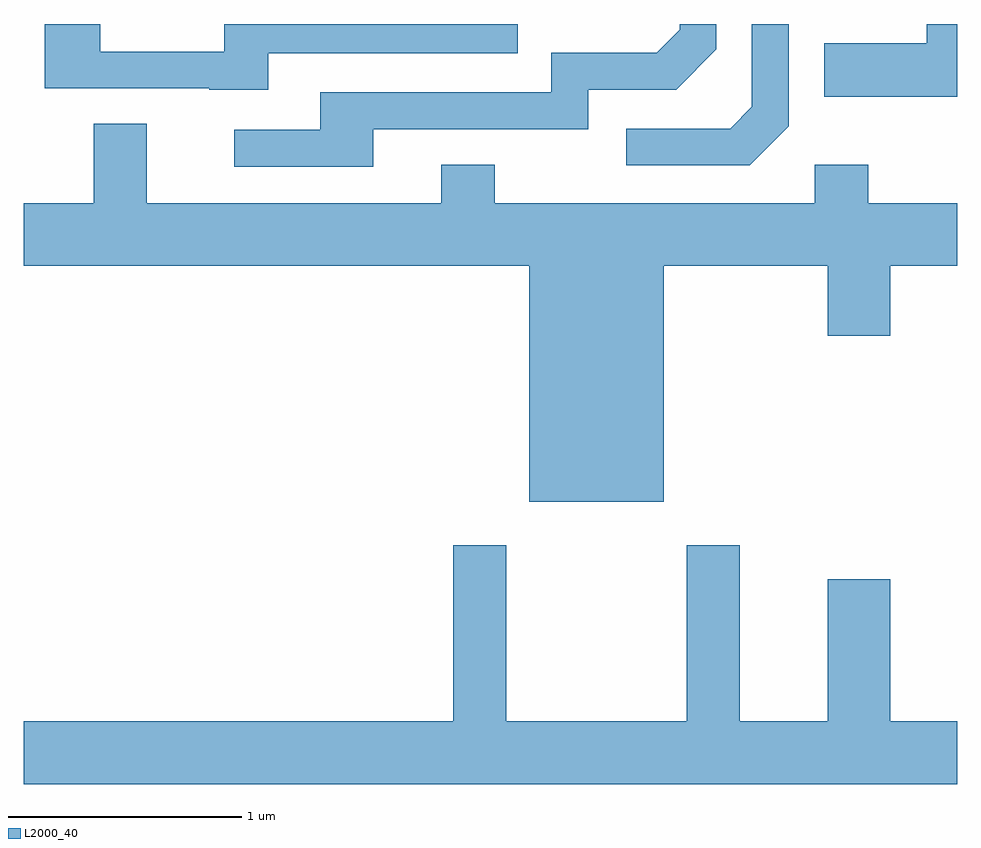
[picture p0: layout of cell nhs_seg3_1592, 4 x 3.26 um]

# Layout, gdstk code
import gdstk
lib = gdstk.Library(unit=1e-6, precision=1e-09)
def P(c, l, *ps):  # polygons
    for p in ps: c.add(gdstk.Polygon(p, *l))
L2000_40 = (2000, 40)

nhs_seg3_1592 = lib.new_cell('nhs_seg3_1592')
P(nhs_seg3_1592, L2000_40, [(234.889,1175.454),(234.889,1175.892),(234.731,1175.892),(234.731,1175.537),(234.639,1175.444),(234.193,1175.444),(234.193,1175.286),(234.722,1175.286)],
  [(232.659,1175.766),(233.728,1175.766),(233.728,1175.892),(232.471,1175.892),(232.471,1175.774),(231.939,1175.774),(231.939,1175.892),(231.701,1175.892),(231.701,1175.616),(232.405,1175.616),(232.405,1175.611),(232.659,1175.611)],
  [(233.109,1175.441),(234.029,1175.441),(234.029,1175.611),(234.407,1175.611),(234.579,1175.784),(234.579,1175.892),(234.421,1175.892),(234.421,1175.867),(234.324,1175.769),(233.871,1175.769),(233.871,1175.599),(232.881,1175.599),(232.881,1175.439),(232.513,1175.439),(232.513,1175.281),(233.109,1175.281)],
  [(235.611,1175.892),(235.481,1175.892),(235.481,1175.809),(235.041,1175.809),(235.041,1175.581),(235.611,1175.581)],
  [(235.001,1175.289),(235.001,1175.124),(233.629,1175.124),(233.629,1175.289),(233.401,1175.289),(233.401,1175.124),(232.139,1175.124),(232.139,1175.464),(231.911,1175.464),(231.911,1175.124),(231.611,1175.124),(231.611,1174.856),(233.776,1174.856),(233.776,1173.846),(234.354,1173.846),(234.354,1174.856),(235.056,1174.856),(235.056,1174.556),(235.324,1174.556),(235.324,1174.856),(235.611,1174.856),(235.611,1175.124),(235.229,1175.124),(235.229,1175.289)],
  [(235.611,1172.904),(235.324,1172.904),(235.324,1173.514),(235.056,1173.514),(235.056,1172.904),(234.679,1172.904),(234.679,1173.659),(234.451,1173.659),(234.451,1172.904),(233.679,1172.904),(233.679,1173.659),(233.451,1173.659),(233.451,1172.904),(231.611,1172.904),(231.611,1172.636),(235.611,1172.636)])

lib.write_gds('nhs_seg3_1592.gds')
